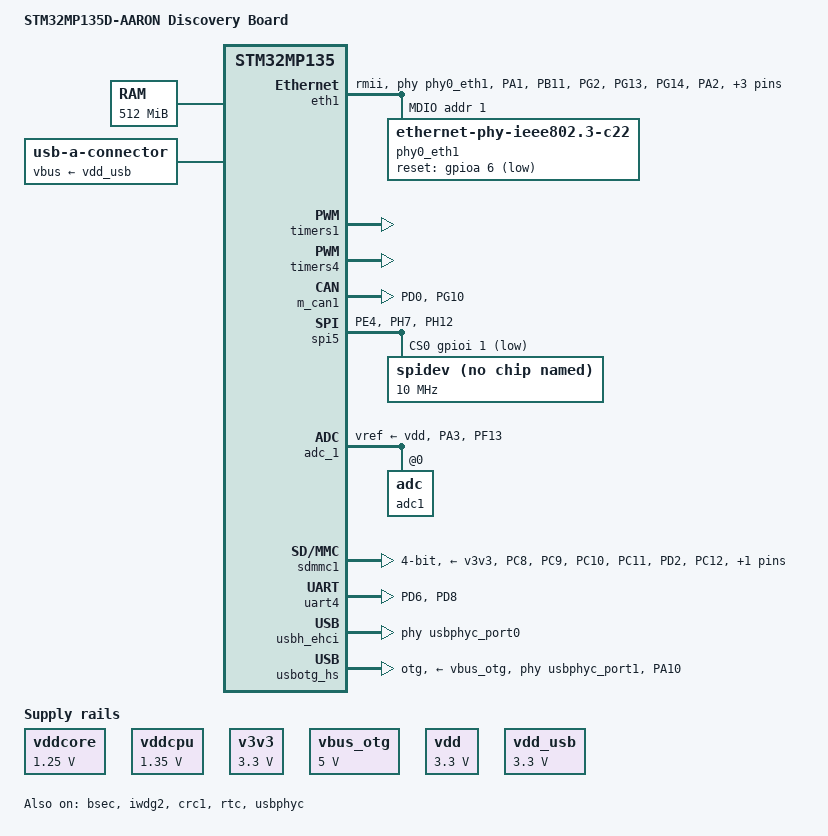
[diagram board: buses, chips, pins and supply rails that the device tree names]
// SPDX-License-Identifier: (GPL-2.0-or-later OR BSD-3-Clause)
/*
 * Copyright (C) 2024, STMicroelectronics - All Rights Reserved
 * Author: STM32CubeMX code generation for STMicroelectronics.
 */

/* For more information on Device Tree configuration, please refer to
 * https://wiki.st.com/stm32mpu/wiki/Category:Device_tree_configuration
 */

/dts-v1/;
#include <dt-bindings/pinctrl/stm32-pinfunc.h>
#include <dt-bindings/gpio/gpio.h>
#include <dt-bindings/rtc/rtc-stm32.h>
#include <dt-bindings/usb/pd.h>

#include "stm32mp135.dtsi"
#include "stm32mp13xd.dtsi"

/ {
	model = "STM32MP135D-AARON Discovery Board";
	compatible = "st,stm32mp135d-aaron", "st,stm32mp135";

	aliases {
		ethernet0 = &eth1;
		serial0 = &uart4;
	};

	chosen {
		stdout-path = "serial0:115200n8";
	};

	memory@c0000000 {
		device_type = "memory";
		reg = <0xc0000000 0x20000000>;
	};

	reserved-memory {
		#address-cells = <1>;
		#size-cells = <1>;
		ranges;

		optee@de000000 {
			reg = <0xde000000 0x2000000>;
			no-map;
		};
	};

	vddcore: vddcore {
        compatible = "regulator-fixed";
        regulator-name = "vddcore";
        regulator-min-microvolt = <1250000>;
        regulator-max-microvolt = <1250000>;
        regulator-off-in-suspend;
        regulator-always-on;
	};

	vddcpu: vddcpu {
		compatible = "regulator-fixed";
		regulator-name = "vddcpu";
		regulator-min-microvolt = <1350000>;
		regulator-max-microvolt = <1350000>;
        regulator-off-in-suspend;
        regulator-always-on;
	};

	v3v3: v3v3 {
        compatible = "regulator-fixed";
        regulator-name = "v3v3";
        regulator-min-microvolt = <3300000>;
        regulator-max-microvolt = <3300000>;
        regulator-off-in-suspend;
        regulator-always-on;
    };

	vbus_otg: vbus_otg {
        compatible = "regulator-fixed";
        regulator-name = "vbus_otg";
        regulator-min-microvolt = <5000000>;
        regulator-max-microvolt = <5000000>;
        regulator-off-in-suspend;
		regulator-always-on;
    };

	vdd: vdd {
        compatible = "regulator-fixed";
        regulator-name = "vdd";
        regulator-min-microvolt = <3300000>;
        regulator-max-microvolt = <3300000>;
        regulator-off-in-suspend;
        regulator-always-on;
    };

	vdd_usb: vdd_usb {
        compatible = "regulator-fixed";
        regulator-name = "vdd_usb";
        regulator-min-microvolt = <3300000>;
        regulator-max-microvolt = <3300000>;
        regulator-off-in-suspend;
        regulator-always-on;
    };
};

&bsec{
	status = "okay";
};

&dma1 {
	sram = <&dma_pool>;
};

&dma2 {
	sram = <&dma_pool>;
};

&sram {
	dma_pool: dma-sram@0 {
		reg = <0x0 0x4000>;
		pool;
	};
};

&rcc{
	status = "okay";
};

&iwdg2 {
	timeout-sec = <32>;
	status = "okay";
};

&crc1 {
	status = "okay";
};

&rtc{
	status = "okay";
};

&eth1 {
	status = "okay";
	pinctrl-0 = <&eth1_pins_a>;
	pinctrl-1 = <&eth1_sleep_pins_a>;
	pinctrl-names = "default", "sleep";
	phy-mode = "rmii";
	max-speed = <100>;
	phy-handle = <&phy0_eth1>;
	nvmem-cells = <&ethernet_mac1_address>;
	nvmem-cell-names = "mac-address";

	mdio1 {
		#address-cells = <1>;
		#size-cells = <0>;
		compatible = "snps,dwmac-mdio";
		phy0_eth1: ethernet-phy@1 {
			compatible = "ethernet-phy-ieee802.3-c22";
			reset-gpios =  <&gpioa 6 GPIO_ACTIVE_LOW>;
			reg = <1>;
		};
	};
};

&timers1 {
	/delete-property/dmas;
	/delete-property/dma-names;
	status = "okay";
	pwm1:pwm {
		pinctrl-0 = <&pwm1_pins_a>;
		pinctrl-1 = <&pwm1_sleep_pins_a>;
		pinctrl-names = "default","sleep";
		status = "okay";
	};
};

&timers4 {
	/delete-property/dmas;
	/delete-property/dma-names;
	status = "okay";
	pwm4:pwm {
		pinctrl-0 = <&pwm4_pins_a>;
		pinctrl-1 = <&pwm4_sleep_pins_a>;
		pinctrl-names = "default", "sleep";
		status = "okay";
	};
	timer@3 {
		status = "okay";
	};
};

&m_can1 {
	pinctrl-names = "default", "sleep";
	pinctrl-0 = <&can1_pins_a>;
	pinctrl-1 = <&can1_sleep_pins_a>;
	/delete-property/dmas;
	/delete-property/dma-names;
	status= "okay";
};

&spi5{
	pinctrl-names = "default", "sleep";
	pinctrl-0 = <&spi5_pins_a>;
	pinctrl-1 = <&spi5_sleep_pins_a>;
	cs-gpios = <&gpioi 1 GPIO_ACTIVE_LOW>;
	status = "okay";

    spidev@0{
        compatible = "rohm,dh2228fv";
        reg = <0>;
        spi-max-frequency = <10000000>;
    };
};

&adc_1 {
	pinctrl-names = "default";
	pinctrl-0 = <&adc1_pins_a>;
	vdda-supply = <&vdd>;
	vref-supply = <&vdd>;
	status = "okay";

	adc1: adc@0 {
		#address-cells = <1>;
		#size-cells = <0>;
		st,min-sample-time-nsecs = <5000>;
		st,adc-channels = <11 12>;
		assigned-resolution-bits = <12>;//adc max 12 bit
		status = "okay";
	};
};

&sdmmc1 {
	pinctrl-names = "default", "opendrain", "sleep";
	pinctrl-0 = <&sdmmc1_pins_a>;
	pinctrl-1 = <&sdmmc1_opendrain_pins_a>;
	pinctrl-2 = <&sdmmc1_sleep_pins_a>;
	cd-gpios = <&gpiof 15 (GPIO_ACTIVE_LOW | GPIO_PULL_UP)>;
	st,neg-edge;
	no-1-8-v;
	bus-width = <4>;
	vmmc-supply = <&v3v3>;
	#address-cells = <1>;
	#size-cells = <0>;
	status = "okay";
};

&uart4{
	pinctrl-names = "default", "sleep";
	pinctrl-0 = <&uart4_pins_a>;
	pirl-1 = <&uart4_sleep_pins_a>;
	status = "okay";
};

&usbh_ehci {
	phys = <&usbphyc_port0>;
	status = "okay";
};

&usbotg_hs {
	phys = <&usbphyc_port1 0>;
	phy-names = "usb2-phy";
	dr_mode = "otg";
	pinctrl-0 = <&usbotg_hs_pins_a>;
	pinctrl-names = "default";
	vbus-supply = <&vbus_otg>;
	status = "okay";
};

&usbphyc {
	status = "okay";
};

&usbphyc_port0 {
	phy-supply = <&vdd_usb>;
	st,current-boost-microamp = <1000>;
	st,decrease-hs-slew-rate;
	st,tune-hs-dc-level = <2>;
	st,enable-hs-rftime-reduction;
	st,trim-hs-current = <11>;
	st,trim-hs-impedance = <2>;
	st,tune-squelch-level = <1>;
	st,enable-hs-rx-gain-eq;
	st,no-hs-ftime-ctrl;
	st,no-lsfs-sc;
	/*
	 * Hack to keep hub active if wakeup source is enabled
	 * otherwise the hub will wakeup the port0 as soon as the v3v3_sw is disabled
	 */
	connector {
		compatible = "usb-a-connector";
		vbus-supply = <&vdd_usb>;
	};
};

&usbphyc_port1 {
	phy-supply = <&vdd_usb>;
	st,current-boost-microamp = <1000>;
	st,decrease-hs-slew-rate;
	st,tune-hs-dc-level = <2>;
	st,enable-hs-rftime-reduction;
	st,trim-hs-current = <11>;
	st,trim-hs-impedance = <2>;
	st,tune-squelch-level = <1>;
	st,enable-hs-rx-gain-eq;
	st,no-hs-ftime-ctrl;
	st,no-lsfs-sc;
};

&pinctrl {
	eth1_pins_a: eth1-0 {
		pins1 {
			pinmux = <STM32_PINMUX('A', 1, AF11)>, /* ETH1_REF_CLK */
					 <STM32_PINMUX('B', 11, AF11)>, /* ETH1_TX_EN */
					 <STM32_PINMUX('G', 2, AF11)>, /* ETH1_MDC */
					 <STM32_PINMUX('G', 13, AF11)>, /* ETH1_TXD0 */
					 <STM32_PINMUX('G', 14, AF11)>; /* ETH1_TXD1 */
			bias-disable;
			drive-push-pull;
			slew-rate = <1>;
		};
		pins2 {
			pinmux = <STM32_PINMUX('A', 2, AF11)>; /* ETH1_MDIO */
			bias-disable;
			drive-push-pull;
			slew-rate = <0>;
		};
		pins3 {
			pinmux = <STM32_PINMUX('A', 7, AF11)>, /* ETH1_CRS_DV */
					 <STM32_PINMUX('C', 4, AF11)>, /* ETH1_RXD0 */
					 <STM32_PINMUX('C', 5, AF11)>; /* ETH1_RXD1 */
			bias-disable;
		};
	};

	eth1_sleep_pins_a: eth1_sleep-0 {
		pins {
			pinmux = <STM32_PINMUX('A', 1, ANALOG)>, /* ETH1_REF_CLK */
					 <STM32_PINMUX('A', 2, ANALOG)>, /* ETH1_MDIO */
					 <STM32_PINMUX('A', 7, ANALOG)>, /* ETH1_CRS_DV */
					 <STM32_PINMUX('B', 11, ANALOG)>, /* ETH1_TX_EN */
					 <STM32_PINMUX('C', 4, ANALOG)>, /* ETH1_RXD0 */
					 <STM32_PINMUX('C', 5, ANALOG)>, /* ETH1_RXD1 */
					 <STM32_PINMUX('G', 2, ANALOG)>, /* ETH1_MDC */
					 <STM32_PINMUX('G', 13, ANALOG)>, /* ETH1_TXD0 */
					 <STM32_PINMUX('G', 14, ANALOG)>; /* ETH1_TXD1 */
		};
	};
	sdmmc1_pins_a: sdmmc1-0 {
		pins1 {
			pinmux = <STM32_PINMUX('C', 8, AF12)>, /* SDMMC1_D0 */
					<STM32_PINMUX('C', 9, AF12)>, /* SDMMC1_D1 */
					<STM32_PINMUX('C', 10, AF12)>, /* SDMMC1_D2 */
					<STM32_PINMUX('C', 11, AF12)>, /* SDMMC1_D3 */
					<STM32_PINMUX('D', 2, AF12)>; /* SDMMC1_CMD */
			bias-disable;
			drive-push-pull;
			slew-rate = <1>;
		};
		pins2 {
			pinmux = <STM32_PINMUX('C', 12, AF12)>; /* SDMMC1_CK */
			bias-disable;
			drive-push-pull;
			slew-rate = <3>;
		};
	};

	sdmmc1_opendrain_pins_a: sdmmc1_opendrain-0 {
		pins1 {
			pinmux = <STM32_PINMUX('C', 8, AF12)>, /* SDMMC1_D0 */
					<STM32_PINMUX('C', 9, AF12)>, /* SDMMC1_D1 */
					<STM32_PINMUX('C', 10, AF12)>, /* SDMMC1_D2 */
					<STM32_PINMUX('C', 11, AF12)>; /* SDMMC1_D3 */
			bias-disable;
			drive-push-pull;
			slew-rate = <1>;
		};
		pins2 {
			pinmux = <STM32_PINMUX('C', 12, AF12)>; /* SDMMC1_CK */
			bias-disable;
			drive-push-pull;
			slew-rate = <3>;
		};
		pins3 {
			pinmux = <STM32_PINMUX('D', 2, AF12)>; /* SDMMC1_CMD */
			bias-disable;
			drive-open-drain;
			slew-rate = <1>;
		};
	};

	sdmmc1_sleep_pins_a: sdmmc1_sleep-0 {
		pins {
			pinmux = <STM32_PINMUX('C', 8, ANALOG)>, /* SDMMC1_D0 */
					<STM32_PINMUX('C', 9, ANALOG)>, /* SDMMC1_D1 */
					<STM32_PINMUX('C', 10, ANALOG)>, /* SDMMC1_D2 */
					<STM32_PINMUX('C', 11, ANALOG)>, /* SDMMC1_D3 */
					<STM32_PINMUX('C', 12, ANALOG)>, /* SDMMC1_CK */
					<STM32_PINMUX('D', 2, ANALOG)>; /* SDMMC1_CMD */
		};
	};

	uart4_pins_a: uart4-0 {
		pins1 {
			pinmux = <STM32_PINMUX('D', 6, AF8)>; /* UART4_TX */
			bias-pull-up;
			drive-push-pull;
			slew-rate = <0>;
		};
		pins2 {
			pinmux = <STM32_PINMUX('D', 8, AF8)>; /* UART4_RX */
			bias-disable;
		};
	};

	uart4_sleep_pins_a: uart4_sleep-0 {
		pins {
			pinmux = <STM32_PINMUX('D', 6, ANALOG)>, /* UART4_TX */
					 <STM32_PINMUX('D', 8, ANALOG)>; /* UART4_RX */
		};
	};

	usbotg_hs_pins_a: usbotg-hs-0 {
		pins {
			pinmux = <STM32_PINMUX('A', 10, ANALOG)>; /* OTG_ID */
		};
	};

	pwm1_pins_a: pwm1-0 {
		pins {
			pinmux = <STM32_PINMUX('E', 8, AF1)>, /* TIM1_CH1N */
                   <STM32_PINMUX('F', 9, AF2)>; /* TIM1_CH1 */
			bias-pull-down;
			drive-push-pull;
			slew-rate = <0>;
		};
	};

	pwm1_sleep_pins_a:pwm1-sleep-0 {
		pins {
			pinmux = <STM32_PINMUX('E', 8, ANALOG)>, /* TIM1_CH1N */
                   <STM32_PINMUX('F', 9, ANALOG)>; /* TIM1_CH1 */
		};
	};


	pwm4_pins_a: pwm4-0 {
		pins {
			pinmux = <STM32_PINMUX('D', 13, AF2)>; /* TIM4_CH2 */
			bias-pull-down;
			drive-push-pull;
			slew-rate = <0>;
		};
	};

	pwm4_sleep_pins_a: pwm4-sleep-0 {
		pins {
			pinmux = <STM32_PINMUX('D', 13, ANALOG)>; /* TIM4_CH2 */
		};
	};
	
	can1_pins_a: can1-0 {
		pins1 {
			pinmux = <STM32_PINMUX('D', 0, AF9)>; /* CAN1_RX */
			bias-disable;
		};
		pins2 {
			pinmux = <STM32_PINMUX('G', 10, AF9)>; /* CAN1_TX */
			bias-disable;
			drive-push-pull;
			slew-rate = <0>;
		};
	};

	can1_sleep_pins_a: can1_sleep-0 {
		pins {
			pinmux = <STM32_PINMUX('D', 0, ANALOG)>, /* CAN1_RX */
					 <STM32_PINMUX('G', 10, ANALOG)>; /* CAN1_TX */
		};
	};

	spi5_pins_a: spi5-0 {
		pins1 {
			pinmux = <STM32_PINMUX('E', 4, AF1)>; /* SPI5_MISO */
			bias-pull-up;
			drive-push-pull;
			slew-rate = <1>;
		};
		pins2 {
			pinmux = <STM32_PINMUX('H', 7, AF6)>, /* SPI5_SCK */
					 <STM32_PINMUX('H', 12, AF5)>; /* SPI5_MOSI */
			bias-disable;
			drive-push-pull;
			slew-rate = <1>;
		};
	};

	spi5_sleep_pins_a: spi5_sleep-0 {
		pins {
			pinmux = <STM32_PINMUX('E', 4, ANALOG)>, /* SPI5_MISO */
					 <STM32_PINMUX('H', 7, ANALOG)>, /* SPI5_SCK */
					 <STM32_PINMUX('H', 12, ANALOG)>; /* SPI5_MOSI */
		};
	};

	adc1_pins_a: adc1-0 {
		pins {
			pinmux = <STM32_PINMUX('A', 3, ANALOG)>, /* ADC1 inp12 */
					 <STM32_PINMUX('F', 13, ANALOG)>; /* ADC1 inp11 */
		};
	};
};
